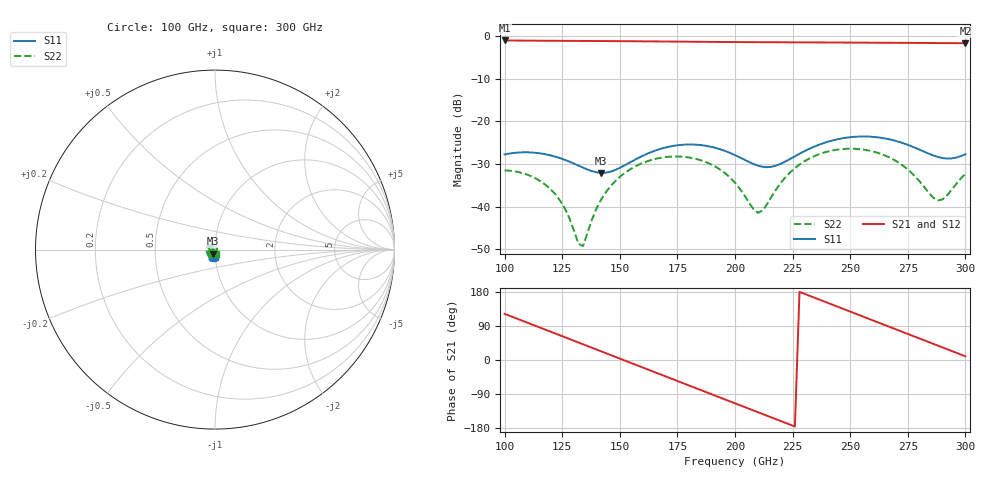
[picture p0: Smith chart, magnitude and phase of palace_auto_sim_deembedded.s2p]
! Created with skrf 1.11.0 (http://scikit-rf.org).
# GHz S DB R 50.0
!freq dBS11 angS11 dBS21 angS21 dBS12 angS12 dBS22 angS22
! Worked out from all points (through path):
!   101 points, 100 GHz to 300 GHz, reference 50 ohm
!   highest |S21| = -1.04 dB at 100 GHz (marker M1); lowest = -1.7 dB at 300 GHz (marker M2)
!   group delay of S21, straight-line fit = 6.56 ps
!   lowest |S11| = -32.1 dB at 142 GHz (marker M3), VSWR 1.05, Z = 49 - j2.23 ohm
!   |S11| at or under -10 dB: start of sweep to end of sweep
!   |S22| runs from -49.3 to -26.4 dB; largest |S21 - S12| = 1e-13
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100  -27.77 -100.1  -1.04 121.7  -1.04 121.7  -31.51 -137.4
110  -27.27 -113.7  -1.08 98.2  -1.08 98.2  -32.54 -160.1
120  -27.99 -125.0  -1.12 74.6  -1.12 74.6  -35.96 179.5
126  -29.00 -129.0  -1.13 60.5  -1.13 60.5  -40.29 172.7
132  -30.37 -128.8  -1.15 46.3  -1.15 46.3  -48.69 -158.7
134  -30.85 -127.3  -1.16 41.6  -1.16 41.6  -49.28 -120.5
142  -32.09 -113.5  -1.18 22.7  -1.18 22.7  -38.26 -83.3
154  -29.77 -93.4  -1.22 -5.7  -1.22 -5.7  -31.42 -105.7
168  -26.41 -98.8  -1.28 -38.9  -1.28 -38.9  -28.53 -140.7
184  -25.51 -117.4  -1.35 -76.6  -1.35 -76.6  -28.95 175.1
192  -26.30 -125.7  -1.39 -95.5  -1.39 -95.5  -30.79 150.2
200  -27.93 -129.5  -1.42 -114.3  -1.42 -114.3  -34.41 119.2
210  -30.41 -119.4  -1.45 -137.8  -1.45 -137.8  -41.45 31.2
222  -29.39 -92.5  -1.48 -166.1  -1.48 -166.1  -33.05 -72.8
234  -26.03 -88.8  -1.50 165.6  -1.50 165.6  -28.27 -116.0
242  -24.53 -94.6  -1.52 146.7  -1.52 146.7  -26.87 -140.6
252  -23.63 -104.9  -1.55 123.1  -1.55 123.1  -26.45 -170.3
268  -24.35 -121.0  -1.59 85.3  -1.59 85.3  -28.74 139.9
278  -26.16 -125.1  -1.62 61.7  -1.62 61.7  -32.83 100.2
288  -28.36 -115.9  -1.65 38.1  -1.65 38.1  -38.54 19.2
292  -28.73 -107.6  -1.66 28.6  -1.66 28.6  -37.40 -26.3
300  -27.74 -91.5  -1.69 9.8  -1.69 9.8  -32.26 -80.4
